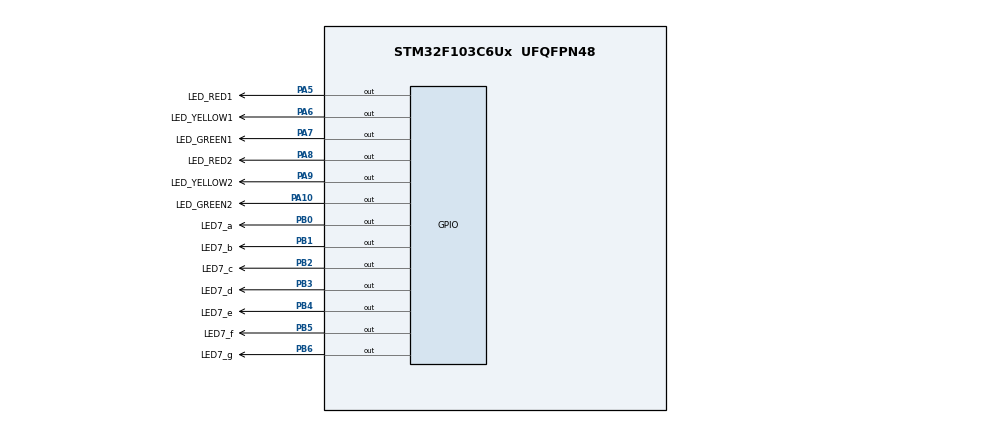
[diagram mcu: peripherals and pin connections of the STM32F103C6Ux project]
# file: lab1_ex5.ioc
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Mcu.Family=STM32F1
Mcu.Name=STM32F103C6Ux
Mcu.Package=UFQFPN48
NVIC.PriorityGroup=NVIC_PRIORITYGROUP_4
PA10.GPIO_Label=LED_GREEN2
PA10.Signal=GPIO_Output
PA5.GPIO_Label=LED_RED1
PA5.Signal=GPIO_Output
PA6.GPIO_Label=LED_YELLOW1
PA6.Signal=GPIO_Output
PA7.GPIO_Label=LED_GREEN1
PA7.Signal=GPIO_Output
PA8.GPIO_Label=LED_RED2
PA8.Signal=GPIO_Output
PA9.GPIO_Label=LED_YELLOW2
PA9.Signal=GPIO_Output
PB0.GPIO_Label=LED7_a
PB0.Signal=GPIO_Output
PB1.GPIO_Label=LED7_b
PB1.Signal=GPIO_Output
PB2.GPIO_Label=LED7_c
PB2.Signal=GPIO_Output
PB3.GPIO_Label=LED7_d
PB3.Signal=GPIO_Output
PB4.GPIO_Label=LED7_e
PB4.Signal=GPIO_Output
PB5.GPIO_Label=LED7_f
PB5.Signal=GPIO_Output
PB6.GPIO_Label=LED7_g
PB6.Signal=GPIO_Output
ProjectManager.HeapSize=0x200
ProjectManager.StackSize=0x400
ProjectManager.TargetToolchain=STM32CubeIDE
RCC.APB1Freq_Value=8000000
RCC.APB2Freq_Value=8000000
VP_SYS_VS_ND.Mode=No_Debug
board=custom

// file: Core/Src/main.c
/* USER CODE BEGIN Header */
/**
  ******************************************************************************
  * @file           : main.c
  * @brief          : Main program body
  ******************************************************************************
  * @attention
  *
  * <h2><center>&copy; Copyright (c) 2025 STMicroelectronics.
  * All rights reserved.</center></h2>
  *
  * This software component is licensed by ST under BSD 3-Clause license,
  * the "License"; You may not use this file except in compliance with the
  * License. You may obtain a copy of the License at:
  *                        opensource.org/licenses/BSD-3-Clause
  *
  ******************************************************************************
  */
/* USER CODE END Header */
#include "main.h"

void SystemClock_Config(void);
static void MX_GPIO_Init(void);

int main(void)
{

  /* MCU Configuration--------------------------------------------------------*/

  /* Reset of all peripherals, Initializes the Flash interface and the Systick. */
  HAL_Init();

  /* Configure the system clock */
  SystemClock_Config();

  /* Initialize all configured peripherals */
  MX_GPIO_Init();

  /* Infinite loop */
  /* USER CODE BEGIN WHILE */

  void display7SEG(int num)
    {
  	  if (num < 0 || num > 9) 	return;

  	  //OFF ALL
  	  HAL_GPIO_WritePin(LED7_a_GPIO_Port, LED7_a_Pin, SET);
  	  HAL_GPIO_WritePin(LED7_b_GPIO_Port, LED7_b_Pin, SET);
  	  HAL_GPIO_WritePin(LED7_c_GPIO_Port, LED7_c_Pin, SET);
  	  HAL_GPIO_WritePin(LED7_d_GPIO_Port, LED7_d_Pin, SET);
  	  HAL_GPIO_WritePin(LED7_e_GPIO_Port, LED7_e_Pin, SET);
  	  HAL_GPIO_WritePin(LED7_f_GPIO_Port, LED7_f_Pin, SET);
  	  HAL_GPIO_WritePin(LED7_g_GPIO_Port, LED7_g_Pin, SET);

  	  //ON
  	  if(num!=1 && num!=4)
  		  HAL_GPIO_WritePin(LED7_a_GPIO_Port, LED7_a_Pin, RESET);
  	  if(num!=5 && num!=6)
  		  HAL_GPIO_WritePin(LED7_b_GPIO_Port, LED7_b_Pin, RESET);
  	  if(num!=2)
  		  HAL_GPIO_WritePin(LED7_c_GPIO_Port, LED7_c_Pin, RESET);
  	  if(num!=1 && num!=4 && num!=7)
  		  HAL_GPIO_WritePin(LED7_d_GPIO_Port, LED7_d_Pin, RESET);
  	  if(num!=1 && num!=3 && num!=4 && num!=5 && num!=7 && num!=9)
  		  HAL_GPIO_WritePin(LED7_e_GPIO_Port, LED7_e_Pin, RESET);
  	  if(num!=1 && num!=2 && num!=3 && num!=7)
  		  HAL_GPIO_WritePin(LED7_f_GPIO_Port, LED7_f_Pin, RESET);
  	  if(num!=1 && num!=7 && num!=0)
  		  HAL_GPIO_WritePin(LED7_g_GPIO_Port, LED7_g_Pin, RESET);
    }

  int count=0;
  int red_on=0;
  //int green_on=1;
  int yellow_on=1;

  while (1)
  {
	  if(count<=0)
	  {
		  //display7SEG(count);
		  if(red_on)
 		  {
 			  count=3;
 			  red_on=0;
 			  //green_on=1;
 		  }
	  	  else if(yellow_on)
	   	  {
	  		  count=5;
	  		  yellow_on=0;
	  		  red_on=1;
	  	  }
	  	  else
	   	  {
	 		  count=2;
			  //green_on=0;
 			  yellow_on=1;
	   	  }
	  }
	  if(red_on)
 	  {
 		  if(count<=2)
 		  {
 			  HAL_GPIO_WritePin(LED_YELLOW2_GPIO_Port, LED_YELLOW2_Pin, GPIO_PIN_RESET);
	  		  HAL_GPIO_WritePin(LED_GREEN2_GPIO_Port, LED_GREEN2_Pin, GPIO_PIN_SET);
 		  }
	  	  else
	  	  {
			  HAL_GPIO_WritePin(LED_YELLOW2_GPIO_Port, LED_YELLOW2_Pin, GPIO_PIN_SET);
	  		  HAL_GPIO_WritePin(LED_GREEN2_GPIO_Port, LED_GREEN2_Pin, GPIO_PIN_RESET);
	  	  }
		  HAL_GPIO_WritePin(LED_RED2_GPIO_Port, LED_RED2_Pin, GPIO_PIN_SET);
		  HAL_GPIO_WritePin(LED_RED1_GPIO_Port, LED_RED1_Pin, GPIO_PIN_RESET);
	  	  HAL_GPIO_WritePin(LED_YELLOW1_GPIO_Port, LED_YELLOW1_Pin, GPIO_PIN_SET);
	  	  HAL_GPIO_WritePin(LED_GREEN1_GPIO_Port, LED_GREEN1_Pin, GPIO_PIN_SET);
	  	  display7SEG(count);
	  	  count--;
	  	  //display7SEG(count);
 	  }
	  else if(yellow_on)
	  {
		  HAL_GPIO_WritePin(LED_RED1_GPIO_Port, LED_RED1_Pin, GPIO_PIN_SET);
	  	  HAL_GPIO_WritePin(LED_YELLOW1_GPIO_Port, LED_YELLOW1_Pin, GPIO_PIN_RESET);
	  	  HAL_GPIO_WritePin(LED_GREEN1_GPIO_Port, LED_GREEN1_Pin, GPIO_PIN_SET);
	  	  HAL_GPIO_WritePin(LED_RED2_GPIO_Port, LED_RED2_Pin, GPIO_PIN_RESET);
	  	  HAL_GPIO_WritePin(LED_YELLOW2_GPIO_Port, LED_YELLOW2_Pin, GPIO_PIN_SET);
	  	  HAL_GPIO_WritePin(LED_GREEN2_GPIO_Port, LED_GREEN2_Pin, GPIO_PIN_SET);
	  	  display7SEG(count);
		  count--;
		  //display7SEG(count);
	  }
	  else
	  {
		  HAL_GPIO_WritePin(LED_RED1_GPIO_Port, LED_RED1_Pin, GPIO_PIN_SET);
		  HAL_GPIO_WritePin(LED_YELLOW1_GPIO_Port, LED_YELLOW1_Pin, GPIO_PIN_SET);
		  HAL_GPIO_WritePin(LED_GREEN1_GPIO_Port, LED_GREEN1_Pin, GPIO_PIN_RESET);
		  HAL_GPIO_WritePin(LED_RED2_GPIO_Port, LED_RED2_Pin, GPIO_PIN_RESET);
	  	  HAL_GPIO_WritePin(LED_YELLOW2_GPIO_Port, LED_YELLOW2_Pin, GPIO_PIN_SET);
	  	  HAL_GPIO_WritePin(LED_GREEN2_GPIO_Port, LED_GREEN2_Pin, GPIO_PIN_SET);
	  	  display7SEG(count);
	  	  count--;
	  	  //display7SEG(count);
	  }

	  HAL_Delay(1000);
    /* USER CODE END WHILE */

  }
}

void SystemClock_Config(void)
{
  RCC_OscInitTypeDef RCC_OscInitStruct = {0};
  RCC_ClkInitTypeDef RCC_ClkInitStruct = {0};

  /** Initializes the RCC Oscillators according to the specified parameters
  * in the RCC_OscInitTypeDef structure.
  */
  RCC_OscInitStruct.OscillatorType = RCC_OSCILLATORTYPE_HSI;
  RCC_OscInitStruct.HSIState = RCC_HSI_ON;
  RCC_OscInitStruct.HSICalibrationValue = RCC_HSICALIBRATION_DEFAULT;
  RCC_OscInitStruct.PLL.PLLState = RCC_PLL_NONE;
  if (HAL_RCC_OscConfig(&RCC_OscInitStruct) != HAL_OK)
  {
    Error_Handler();
  }
  /** Initializes the CPU, AHB and APB buses clocks
  */
  RCC_ClkInitStruct.ClockType = RCC_CLOCKTYPE_HCLK|RCC_CLOCKTYPE_SYSCLK
                              |RCC_CLOCKTYPE_PCLK1|RCC_CLOCKTYPE_PCLK2;
  RCC_ClkInitStruct.SYSCLKSource = RCC_SYSCLKSOURCE_HSI;
  RCC_ClkInitStruct.AHBCLKDivider = RCC_SYSCLK_DIV1;
  RCC_ClkInitStruct.APB1CLKDivider = RCC_HCLK_DIV1;
  RCC_ClkInitStruct.APB2CLKDivider = RCC_HCLK_DIV1;

  if (HAL_RCC_ClockConfig(&RCC_ClkInitStruct, FLASH_LATENCY_0) != HAL_OK)
  {
    Error_Handler();
  }
}

static void MX_GPIO_Init(void)
{
  GPIO_InitTypeDef GPIO_InitStruct = {0};

  /* GPIO Ports Clock Enable */
  __HAL_RCC_GPIOA_CLK_ENABLE();
  __HAL_RCC_GPIOB_CLK_ENABLE();

  /*Configure GPIO pin Output Level */
  HAL_GPIO_WritePin(GPIOA, LED_RED1_Pin|LED_YELLOW1_Pin|LED_GREEN1_Pin|LED_RED2_Pin
                          |LED_YELLOW2_Pin|LED_GREEN2_Pin, GPIO_PIN_RESET);

  /*Configure GPIO pin Output Level */
  HAL_GPIO_WritePin(GPIOB, LED7_a_Pin|LED7_b_Pin|LED7_c_Pin|LED7_d_Pin
                          |LED7_e_Pin|LED7_f_Pin|LED7_g_Pin, GPIO_PIN_RESET);

  /*Configure GPIO pins : LED_RED1_Pin LED_YELLOW1_Pin LED_GREEN1_Pin LED_RED2_Pin
                           LED_YELLOW2_Pin LED_GREEN2_Pin */
  GPIO_InitStruct.Pin = LED_RED1_Pin|LED_YELLOW1_Pin|LED_GREEN1_Pin|LED_RED2_Pin
                          |LED_YELLOW2_Pin|LED_GREEN2_Pin;
  GPIO_InitStruct.Mode = GPIO_MODE_OUTPUT_PP;
  GPIO_InitStruct.Pull = GPIO_NOPULL;
  GPIO_InitStruct.Speed = GPIO_SPEED_FREQ_LOW;
  HAL_GPIO_Init(GPIOA, &GPIO_InitStruct);

  /*Configure GPIO pins : LED7_a_Pin LED7_b_Pin LED7_c_Pin LED7_d_Pin
                           LED7_e_Pin LED7_f_Pin LED7_g_Pin */
  GPIO_InitStruct.Pin = LED7_a_Pin|LED7_b_Pin|LED7_c_Pin|LED7_d_Pin
                          |LED7_e_Pin|LED7_f_Pin|LED7_g_Pin;
  GPIO_InitStruct.Mode = GPIO_MODE_OUTPUT_PP;
  GPIO_InitStruct.Pull = GPIO_NOPULL;
  GPIO_InitStruct.Speed = GPIO_SPEED_FREQ_LOW;
  HAL_GPIO_Init(GPIOB, &GPIO_InitStruct);

}

void Error_Handler(void)
{
  __disable_irq();
  while (1)
  {
  }
}

/************************ (C) COPYRIGHT STMicroelectronics *****END OF FILE****/
